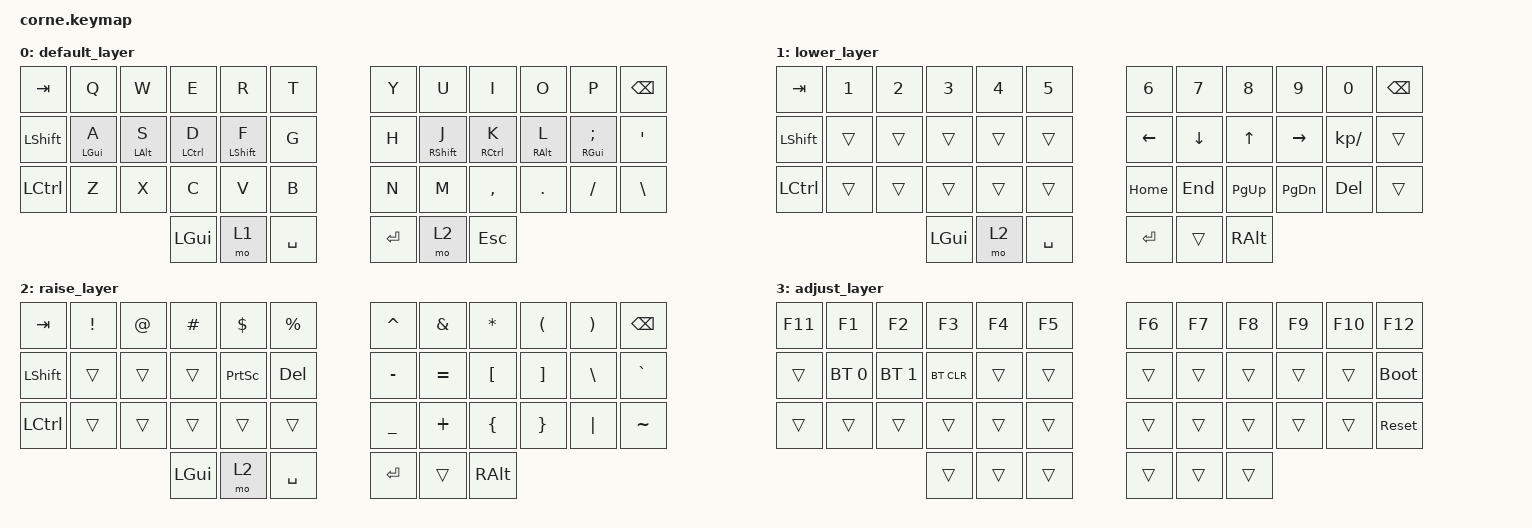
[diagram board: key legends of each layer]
/*
 * Copyright (c) 2020 The ZMK Contributors
 *
 * SPDX-License-Identifier: MIT
 */
#include <behaviors.dtsi>
#include <dt-bindings/zmk/keys.h>
#include <dt-bindings/zmk/bt.h>
/ {
        behaviors {
                hm: homerow_mods {
                        compatible = "zmk,behavior-hold-tap";
                        label = "HOMEROW_MODS";
                        #binding-cells = <2>;
                        tapping-term-ms = <280>;
                        quick-tap-ms = <175>;
                        flavor = "balanced";
                        bindings = <&kp>, <&kp>;
                };
        };
        combos {
                compatible = "zmk,combos";
                combo_adjust {
                        timeout-ms = <50>;
                        key-positions = <37 40>;
                        bindings = <&mo 3>;
                };
        };
        keymap {
                compatible = "zmk,keymap";
                default_layer {
// -----------------------------------------------------------------------------------------
// |  TAB |  Q  |  W  |  E  |  R  |  T  |   |  Y  |  U   |  I  |  O  |  P  | BSPC |
// | SHFT |GUI/A|ALT/S|CTRL/D|SHFT/F|  G  |   |  H  |SHFT/J|CTRL/K|ALT/L|GUI/;|  '   |
// | CTRL |  Z  |  X  |  C  |  V  |  B  |   |  N  |  M   |  ,  |  .  |  /  |  \   |
//                    | GUI | LWR | SPC |   | ENT | RSE  | ESC |
                        bindings = <
   &kp TAB   &kp Q &kp W &kp E &kp R &kp T   &kp Y &kp U  &kp I     &kp O   &kp P    &kp BSPC
   &kp LSHFT &hm LGUI A &hm LALT S &hm LCTRL D &hm LSHFT F &kp G   &kp H &hm RSHFT J  &hm RCTRL K     &hm RALT L   &hm RGUI SEMI &kp SQT
   &kp LCTRL &kp Z &kp X &kp C &kp V &kp B   &kp N &kp M  &kp COMMA &kp DOT &kp FSLH &kp BSLH
                  &kp LGUI &mo 1 &kp SPACE   &kp RET &mo 2 &kp ESC
                        >;
                };
                lower_layer {
// -----------------------------------------------------------------------------------------
// |  TAB |  1  |  2  |  3  |  4  |  5  |   |  6  |  7  |  8  |  9  |  0  | BSPC |
// | SHFT |     |     |     |     |     |   | LFT | DWN |  UP | RGT | KP/ |      |
// | CTRL |     |     |     |     |     |   | HOM | END |PG_UP|PG_DN| DEL |      |
//                    | GUI |     | SPC |   | ENT |     | ALT |
                        bindings = <
   &kp TAB    &kp N1       &kp N2       &kp N3       &kp N4       &kp N5         &kp N6   &kp N7    &kp N8    &kp N9    &kp N0 &kp BSPC
   &kp LSHFT  &trans       &trans       &trans       &trans       &trans         &kp LEFT &kp DOWN  &kp UP    &kp RIGHT &kp KP_SLASH &trans
   &kp LCTRL  &trans       &trans       &trans       &trans       &trans         &kp HOME &kp END   &kp PG_UP &kp PG_DN &kp DEL &trans
                                    &kp LGUI     &mo 2       &kp SPACE      &kp RET  &trans   &kp RALT
                        >;
                };
                raise_layer {
// -----------------------------------------------------------------------------------------
// |  TAB |  !  |  @  |  #  |  $  |  %  |   |  ^  |  &  |  *  |  (  |  )  | BSPC |
// | SHFT |     |     |     |PSCRN| DEL |   |  -  |  =  |  [  |  ]  |  \  |  `   |
// | CTRL |     |     |     |     |     |   |  _  |  +  |  {  |  }  | "|" |  ~   |
//                    | GUI |     | SPC |   | ENT |     | ALT |
                        bindings = <
   &kp  TAB  &kp EXCL &kp AT &kp HASH &kp DLLR  &kp PRCNT   &kp CARET &kp AMPS  &kp ASTRK &kp LPAR &kp RPAR &kp BSPC
   &kp LSHFT &trans   &trans &trans   &kp PSCRN &kp DEL     &kp MINUS &kp EQUAL &kp LBKT  &kp RBKT &kp BSLH &kp GRAVE
   &kp LCTRL &trans   &trans &trans   &trans    &trans      &kp UNDER &kp PLUS  &kp LBRC  &kp RBRC &kp PIPE &kp TILDE
                             &kp LGUI &mo 2    &kp SPACE   &kp RET   &trans    &kp RALT
                        >;
                };
                adjust_layer {
// -----------------------------------------------------------------------------------------
// | F11  | F1  | F2  | F3  | F4  | F5  |   | F6  | F7  | F8  | F9  | F10 | F12  |
// |      | BT0 | BT1 |BTCLR|     |     |   |     |     |     |     |     |BTLDR |
// |      |     |     |     |     |     |   |     |     |     |     |     |RESET |
//                    |     |     |     |   |     |     |     |
                        bindings = <
   &kp F11 &kp F1 &kp F2 &kp F3 &kp F4 &kp F5   &kp F6 &kp F7 &kp F8 &kp F9 &kp F10 &kp F12
   &trans &bt BT_SEL 0 &bt BT_SEL 1 &bt BT_CLR &trans &trans   &trans &trans &trans &trans &trans &bootloader
   &trans &trans &trans &trans &trans &trans   &trans &trans &trans &trans &trans &sys_reset
                        &trans &trans &trans   &trans &trans &trans
                        >;
                };
        };
};
